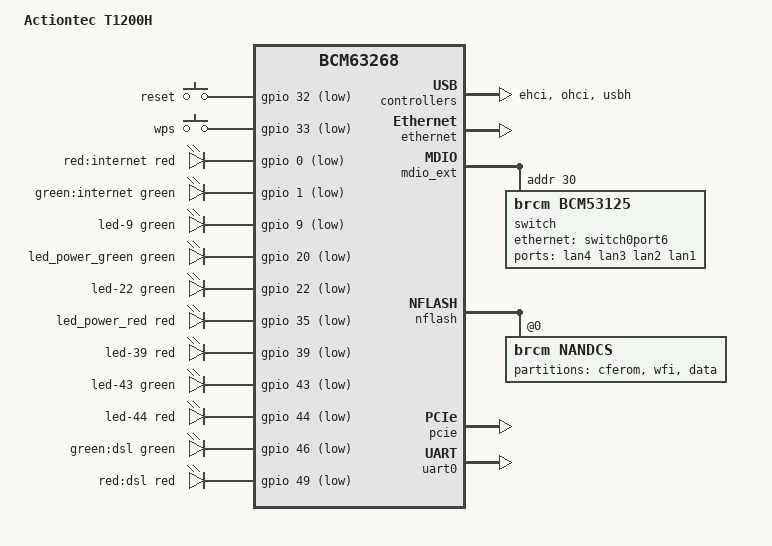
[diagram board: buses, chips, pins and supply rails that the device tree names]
// SPDX-License-Identifier: GPL-2.0-or-later

#include "bcm63268.dtsi"

/ {
	model = "Actiontec T1200H";
	compatible = "actiontec,t1200h", "brcm,bcm63168", "brcm,bcm63268";

	aliases {
		led-boot = &led_power_green;
		led-failsafe = &led_power_red;
		led-running = &led_power_green;
		led-upgrade = &led_power_green;
	};

	keys {
		compatible = "gpio-keys-polled";
		poll-interval = <100>;

		reset {
			label = "reset";
			gpios = <&gpio 32 GPIO_ACTIVE_LOW>;
			linux,code = <KEY_RESTART>;
			debounce-interval = <60>;
		};

		wps {
			label = "wps";
			gpios = <&gpio 33 GPIO_ACTIVE_LOW>;
			linux,code = <KEY_WPS_BUTTON>;
			debounce-interval = <60>;
		};
	};

	leds {
		compatible = "gpio-leds";

		led-0 {
			label = "red:internet";
			color = <LED_COLOR_ID_RED>;
			gpios = <&gpio 0 GPIO_ACTIVE_LOW>;
		};

		led-1 {
			label = "green:internet";
			color = <LED_COLOR_ID_GREEN>;
			gpios = <&gpio 1 GPIO_ACTIVE_LOW>;
		};

		led-9 {
			function = LED_FUNCTION_USB;
			color = <LED_COLOR_ID_GREEN>;
			gpios = <&gpio 9 GPIO_ACTIVE_LOW>;
		};

		led_power_green: led-20 {
			function = LED_FUNCTION_POWER;
			color = <LED_COLOR_ID_GREEN>;
			gpios = <&gpio 20 GPIO_ACTIVE_LOW>;
		};

		led-22 {
			function = LED_FUNCTION_WAN;
			color = <LED_COLOR_ID_GREEN>;
			gpios = <&gpio 22 GPIO_ACTIVE_LOW>;
		};

		led_power_red: led-35 {
			function = LED_FUNCTION_POWER;
			color = <LED_COLOR_ID_RED>;
			gpios = <&gpio 35 GPIO_ACTIVE_LOW>;
			panic-indicator;
		};

		led-39 {
			function = LED_FUNCTION_WLAN;
			color = <LED_COLOR_ID_RED>;
			gpios = <&gpio 39 GPIO_ACTIVE_LOW>;
		};

		led-43 {
			function = LED_FUNCTION_WPS;
			color = <LED_COLOR_ID_GREEN>;
			gpios = <&gpio 43 GPIO_ACTIVE_LOW>;
		};

		led-44 {
			function = LED_FUNCTION_WPS;
			color = <LED_COLOR_ID_RED>;
			gpios = <&gpio 44 GPIO_ACTIVE_LOW>;
		};

		led-46 {
			label = "green:dsl";
			color = <LED_COLOR_ID_GREEN>;
			gpios = <&gpio 46 GPIO_ACTIVE_LOW>;
		};

		led-49 {
			label = "red:dsl";
			color = <LED_COLOR_ID_RED>;
			gpios = <&gpio 49 GPIO_ACTIVE_LOW>;
		};
	};
};

&ehci {
	status = "okay";
};

&ethernet {
	status = "okay";

	nvmem-cells = <&macaddr_cferom_6a0>;
	nvmem-cell-names = "mac-address";
};

&mdio_ext {
	switch@1e {
		compatible = "brcm,bcm53125";
		reg = <0x1e>;

		dsa,member = <1 0>;

		ports {
			#address-cells = <1>;
			#size-cells = <0>;

			port@0 {
				reg = <0>;
				label = "lan4";
			};

			port@1 {
				reg = <1>;
				label = "lan3";
			};

			port@2 {
				reg = <2>;
				label = "lan2";
			};

			port@3 {
				reg = <3>;
				label = "lan1";
			};

			port@8 {
				reg = <0x8>;

				phy-mode = "rgmii";
				ethernet = <&switch0port6>;

				fixed-link {
					speed = <1000>;
					full-duplex;
				};
			};
		};
	};
};

&nflash {
	status = "okay";

	nandcs@0 {
		compatible = "brcm,nandcs";
		reg = <0>;
		nand-ecc-step-size = <512>;
		nand-ecc-strength = <15>;
		nand-on-flash-bbt;
		brcm,nand-oob-sector-size = <64>;

		#address-cells = <1>;
		#size-cells = <1>;

		partitions {
			compatible = "fixed-partitions";
			#address-cells = <1>;
			#size-cells = <1>;

			partition@0 {
				label = "cferom";
				reg = <0x0 0x20000>;
				read-only;

				nvmem-layout {
					compatible = "fixed-layout";
					#address-cells = <1>;
					#size-cells = <1>;

					macaddr_cferom_6a0: macaddr@6a0 {
						reg = <0x6a0 0x6>;
					};
				};
			};

			partition@20000 {
				compatible = "brcm,wfi-split";
				label = "wfi";
				reg = <0x20000 0x7ac0000>;
			};

			partition@7b00000 {
				label = "data";
				reg = <0x7b00000 0x400000>;
				read-only;
			};
		};
	};
};

&ohci {
	status = "okay";
};

&pcie {
	status = "okay";
};

&switch0 {
	dsa,member = <0 0>;

	ports {
		port@3 {
			reg = <3>;
			label = "wan";

			phy-handle = <&phy4>;
		};

		switch0port6: port@6 {
			reg = <6>;
			label = "extsw";

			phy-mode = "rgmii";

			fixed-link {
				speed = <1000>;
				full-duplex;
			};
		};
	};
};

&uart0 {
	status = "okay";
};

&usbh {
	status = "okay";
};
